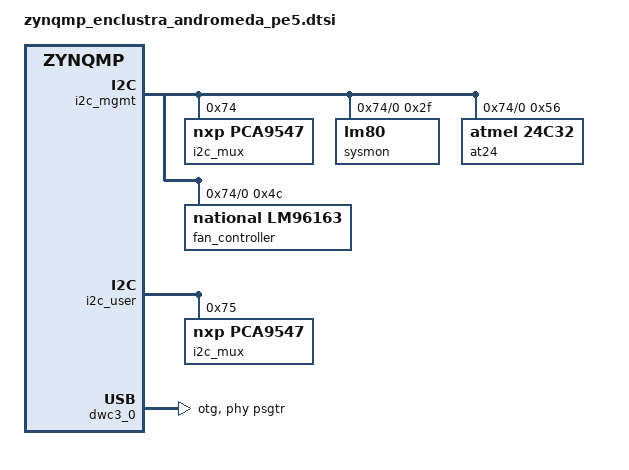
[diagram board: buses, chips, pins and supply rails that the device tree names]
#include <dt-bindings/phy/phy.h>

&i2c_mgmt {
	i2c_mux@74 {
		compatible = "nxp,pca9547";
		reg = <0x74>;
		#address-cells = <1>;
		#size-cells = <0>;

		i2c_mux@0 {
			reg = <0>;
			sysmon: lm96080@2f {
				status = "okay";
				compatible = "lm80";
				reg = <0x2f >;
			};
			ioexpander0: ioexpander0@20 {
				status = "disabled";
				compatible = "nxp,pcal6416";
				reg = <0x20>;
				gpio-controller;
				#gpio-cells = <2>;
			};
			ioexpander1: ioexpander1@21 {
				status = "disabled";
				compatible = "nxp,pcal6416";
				reg = <0x21>;
				gpio-controller;
				#gpio-cells = <2>;
			};
			at24: at24@56 {
				compatible = "atmel,24c32";
				reg = <0x56>;
				pagesize = <32>;
			};
			fan_controller: fan_controller@4c {
				compatible = "national,lm96163";
				reg = <0x4c>;
			};
		};
		i2c_mux@2 {
			reg = <2>;
			ioexpander2: ioexpander2@20 {
				status = "disabled";
				compatible = "nxp,pcal6416";
				reg = <0x20>;
				gpio-controller;
				#gpio-cells = <2>;
			};
		};
	};
};

&i2c_user {
	i2c_mux@75 {
		compatible = "nxp,pca9547";
		reg = <0x75>;
		#address-cells = <1>;
		#size-cells = <0>;
	};
};

&sdhci1 {
	wp-inverted;
};

&dwc3_0 {
	dr_mode = "otg";
	phy-names = "usb3-phy";
	phys = <&psgtr 2 PHY_TYPE_USB3 0 2>;
	maximum-speed = "super-speed";
};

&zynqmp_dpsub {
	phy-names = "dp-phy0", "dp-phy1";
	phys = <&psgtr 1 PHY_TYPE_DP 0 3>, <&psgtr 0 PHY_TYPE_DP 1 3>;
};

&zynqmp_dp_snd_pcm0 {
	status = "disabled";
};

&zynqmp_dp_snd_pcm1 {
	status = "disabled";
};

&zynqmp_dp_snd_card0 {
	status = "disabled";
};

&zynqmp_dp_snd_codec0 {
	status = "disabled";
};
